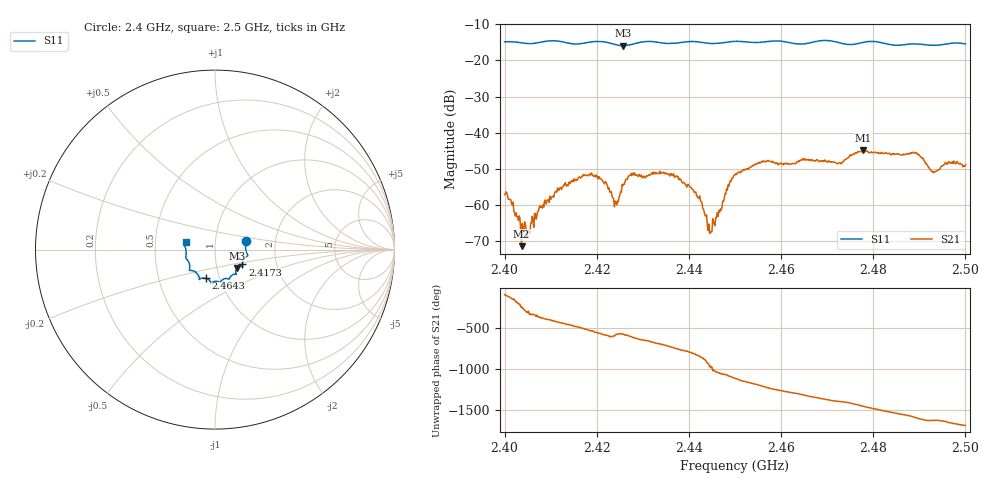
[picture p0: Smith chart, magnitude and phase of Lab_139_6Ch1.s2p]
# Hz S RI R 50
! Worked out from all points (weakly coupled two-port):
!   601 points, 2.4 GHz to 2.5 GHz, reference 50 ohm
!   highest |S21| = -44.90 dB at 2.4778 GHz (marker M1); lowest = -71.4 dB at 2.4037 GHz (marker M2)
!   lowest |S11| = -15.9 dB at 2.4257 GHz (marker M3), VSWR 1.38, Z = 62.4 - j13.1 ohm
!   |S11| at or under -10 dB: start of sweep to end of sweep
!   S12 and S22 are empty: the file has one direction only
!   S11 on the Smith chart (normalised r, x): 2.4 GHz: 1.41, +0.15; 2.4173 GHz: 1.34, -0.23; 2.4643 GHz: 0.86, -0.28; 2.5 GHz: 0.72, +0.06
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2.4e9  0.1735 0.0499  4.83e-05 -0.00139  0 0  0 0
2.403667e9  0.1722 0.0285  -0.000154 0.000221  0 0  0 0
2.405167e9  0.1701 0.0112  0.000163 0.000399  0 0  0 0
2.408333e9  0.1795 -0.0238  0.00096 -0.000302  0 0  0 0
2.416667e9  0.1532 -0.0749  -0.00169 -0.00172  0 0  0 0
2.417333e9  0.1525 -0.0824  -0.00225 -0.00129  0 0  0 0
2.421e9  0.1541 -0.0962  -0.00196 0.00115  0 0  0 0
2.424167e9  0.1346 -0.0946  -0.0009 0.000645  0 0  0 0
2.425667e9  0.1226 -0.1022  -0.00159 0.000956  0 0  0 0
2.427667e9  0.1153 -0.1206  -0.00104 0.00257  0 0  0 0
2.433333e9  0.1128 -0.1365  0.00233 0.00142  0 0  0 0
2.441e9  0.0781 -0.1646  -5.73e-05 -0.0016  0 0  0 0
2.4445e9  0.0593 -0.161  -0.000117 0.000388  0 0  0 0
2.45e9  0.0297 -0.1807  0.00219 -0.00139  0 0  0 0
2.464333e9  -0.0501 -0.1604  -0.00264 0.00324  0 0  0 0
2.466667e9  -0.0761 -0.1599  -0.000888 0.00402  0 0  0 0
2.472667e9  -0.0896 -0.1501  0.00278 0.00266  0 0  0 0
2.477833e9  -0.1341 -0.1158  0.0055 -0.00147  0 0  0 0
2.483333e9  -0.1409 -0.0893  0.000563 -0.0051  0 0  0 0
2.4895e9  -0.1626 -0.0439  -0.00481 -0.00184  0 0  0 0
2.493e9  -0.1607 -0.0138  -0.00276 0.000425  0 0  0 0
2.5e9  -0.1637 0.0421  -0.00121 0.00338  0 0  0 0
